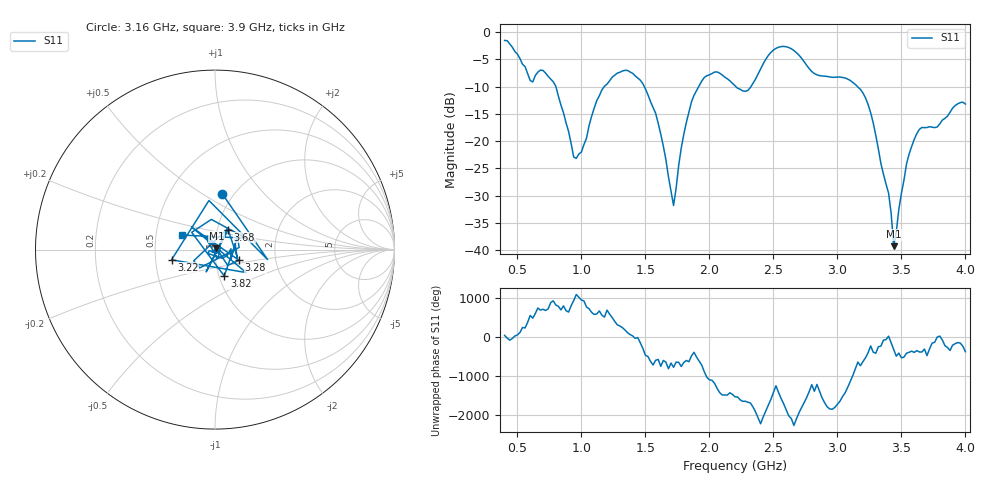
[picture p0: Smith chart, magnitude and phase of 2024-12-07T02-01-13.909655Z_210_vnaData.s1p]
!Created with skrf (http://scikit-rf.org).
# Hz S RI R 50.0
!freq ReS11 ImS11
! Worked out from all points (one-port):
!   181 points, 400 MHz to 4 GHz, reference 50 ohm
!   lowest |S11| = -39.3 dB at 3.44 GHz (marker M1), VSWR 1.02, Z = 50.8 + j0.764 ohm
!   |S11| at or under -10 dB: 800.6 MHz to 1.178 GHz (377.7 MHz wide, 38.2 % of centre); 1.491 GHz to 1.917 GHz (425.7 MHz wide, 25 % of centre); 3.157 GHz to end of sweep (the widest 3 of 4)
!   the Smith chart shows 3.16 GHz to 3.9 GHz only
!   S11 on the Smith chart (normalised r, x): 3.16 GHz: 0.89, +0.61; 3.22 GHz: 0.61, -0.07; 3.28 GHz: 1.30, -0.16; 3.68 GHz: 1.13, +0.25; 3.82 GHz: 1.06, -0.32; 3.9 GHz: 0.68, +0.12
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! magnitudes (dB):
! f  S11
! 400 MHz  -1.5
! 600 MHz  -8.9
! 780 MHz  -9.1
! 860 MHz  -14.8
! 960 MHz  -23.2
! 1.16 GHz  -10.6
! 1.3 GHz  -7.4
! 1.46 GHz  -8.8
! 1.58 GHz  -14.9
! 1.72 GHz  -31.8
! 1.76 GHz  -24.5
! 1.86 GHz  -12.8
! 1.94 GHz  -9.0
! 2.2 GHz  -9.9
! 2.3 GHz  -10.7
! 2.52 GHz  -3.0
! 2.66 GHz  -3.4
! 3.1 GHz  -8.9
! 3.16 GHz  -10.1
! 3.22 GHz  -12.1
! 3.28 GHz  -16.7
! 3.4 GHz  -29.5
! 3.44 GHz  -39.3
! 3.56 GHz  -22.4
! 3.68 GHz  -17.5
! 3.82 GHz  -16.1
! 3.9 GHz  -14.0
! 4 GHz  -13.2
